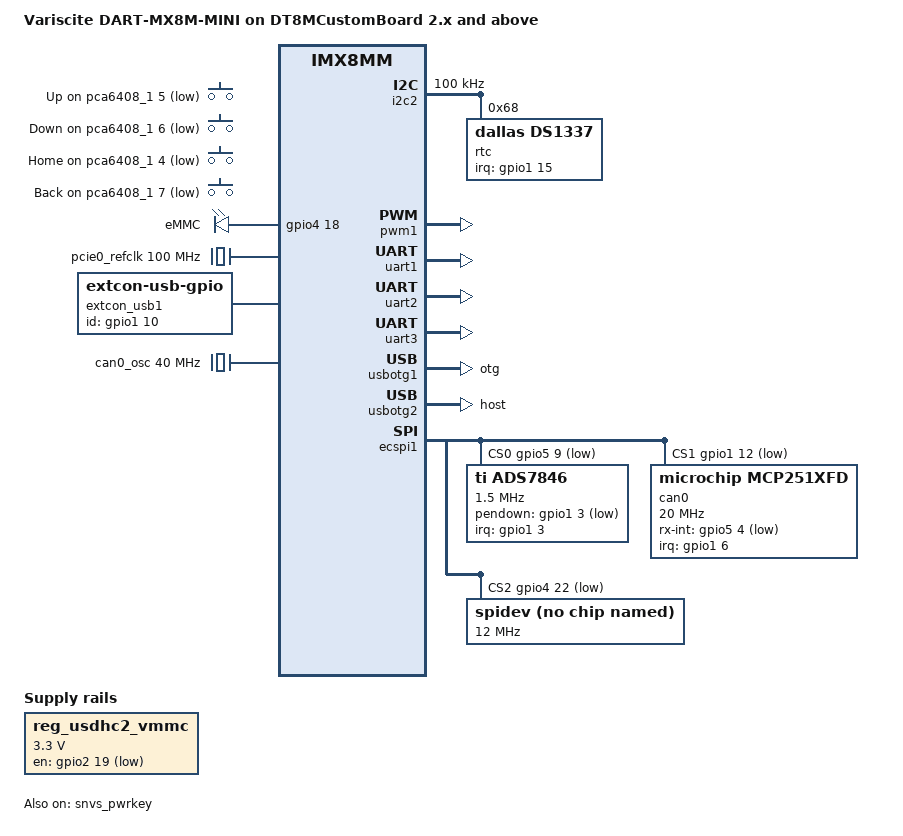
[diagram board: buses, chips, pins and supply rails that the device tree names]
// SPDX-License-Identifier: (GPL-2.0+ OR MIT)
/*
 * Copyright 2019 NXP
 * Copyright 2019-2021 Variscite Ltd.
 */

#include "imx8mm-var-dart.dtsi"

/ {
	model = "Variscite DART-MX8M-MINI on DT8MCustomBoard 2.x and above";

	chosen {
		stdout-path = &uart1;
	};

	gpio-keys {
		compatible = "gpio-keys";
		status = "okay";

		up {
			label = "Up";
			gpios = <&pca6408_1 5 GPIO_ACTIVE_LOW>;
			linux,code = <KEY_UP>;
			wakeup-source;
		};

		down {
			label = "Down";
			gpios = <&pca6408_1 6 GPIO_ACTIVE_LOW>;
			linux,code = <KEY_DOWN>;
			wakeup-source;
		};

		home {
			label = "Home";
			gpios = <&pca6408_1 4 GPIO_ACTIVE_LOW>;
			linux,code = <KEY_HOME>;
			wakeup-source;
		};

		back {
			label = "Back";
			gpios = <&pca6408_1 7 GPIO_ACTIVE_LOW>;
			linux,code = <KEY_BACK>;
			wakeup-source;
		};
	};

	gpio-leds {
		compatible = "gpio-leds";
		pinctrl-names = "default";
		pinctrl-0 = <&pinctrl_leds>;
		status = "okay";

		emmc {
			label = "eMMC";
			gpios = <&gpio4 18 GPIO_ACTIVE_HIGH>;
			linux,default-trigger = "mmc2";
		};
	};

	pcie0_refclk: pcie0-refclk {
		compatible = "fixed-clock";
		#clock-cells = <0>;
		clock-frequency = <100000000>;
	};

	reg_usdhc2_vmmc: regulator-usdhc2 {
		compatible = "regulator-fixed";
		pinctrl-names = "default";
		pinctrl-0 = <&pinctrl_reg_usdhc2_vmmc>;
		regulator-name = "VSD_3V3";
		regulator-min-microvolt = <3300000>;
		regulator-max-microvolt = <3300000>;
		gpio = <&gpio2 19 GPIO_ACTIVE_HIGH>;
		off-on-delay = <20000>;
		enable-active-low;
	};

	extcon_usb1: extcon_usb1 {
		compatible = "linux,extcon-usb-gpio";
		pinctrl-names = "default";
		pinctrl-0 = <&pinctrl_extcon>;
		id-gpio = <&gpio1 10 GPIO_ACTIVE_HIGH>;
		status = "okay";
	};

	can0_osc: can0_osc {
		compatible = "fixed-clock";
		#clock-cells = <0>;
		clock-frequency = <40000000>;
	};
};

&i2c2 {
	clock-frequency = <100000>;
	pinctrl-names = "default";
	pinctrl-0 = <&pinctrl_i2c2>;
	
	/* DS1337 RTC module */
	rtc@68 {
		compatible = "dallas,ds1337";
		reg = <0x68>;
		pinctrl-names = "default";
		pinctrl-0 = <&pinctrl_rtc>;
		interrupt-parent = <&gpio1>;
		interrupts = <15 IRQ_TYPE_EDGE_FALLING>;
		wakeup-source;
		status = "okay";
	};
};

&i2c4 {
	clock-frequency = <100000>;
	pinctrl-names = "default";
	pinctrl-0 = <&pinctrl_i2c4>;
	status = "disabled";
};

&pwm1 {
	pinctrl-names = "default";
	pinctrl-0 = <&pinctrl_pwm1>;
	status = "okay";
};

/* Console */
&uart1 {
	pinctrl-names = "default";
	pinctrl-0 = <&pinctrl_uart1>;
	status = "okay";
};

/* Header */
&uart2 {
	pinctrl-names = "default";
	pinctrl-0 = <&pinctrl_uart2>;
	status = "okay";
};

/* Header */
&uart3 {
	pinctrl-names = "default";
	pinctrl-0 = <&pinctrl_uart3>;
	status = "okay";
};

&usbotg1 {
	dr_mode = "otg";
	picophy,pre-emp-curr-control = <3>;
	picophy,dc-vol-level-adjust = <7>;
	extcon = <0>,<&extcon_usb1>;
	hnp-disable;
	srp-disable;
	adp-disable;
	disable-over-current;
	status = "okay";
};

&usbotg2 {
	dr_mode = "host";
	picophy,pre-emp-curr-control = <3>;
	picophy,dc-vol-level-adjust = <7>;
	disable-over-current;
	status = "okay";
};

&ecspi1 {
	pinctrl-names = "default";
	pinctrl-0 = <&pinctrl_ecspi1>;
	cs-gpios = <&gpio5  9 GPIO_ACTIVE_LOW>,
		   <&gpio1 12 GPIO_ACTIVE_LOW>,
		   <&gpio4 22 GPIO_ACTIVE_LOW>;
	status = "okay";

	/* Resistive touch controller */
	ads7846@0 {
		reg = <0>;
		compatible = "ti,ads7846";
		pinctrl-names = "default";
		pinctrl-0 = <&pinctrl_restouch>;
		interrupt-parent = <&gpio1>;
		interrupts = <3 IRQ_TYPE_EDGE_FALLING>;
		spi-max-frequency = <1500000>;
		pendown-gpio = <&gpio1 3 GPIO_ACTIVE_LOW>;
		ti,x-min = /bits/ 16 <125>;
		ti,x-max = /bits/ 16 <4008>;
		ti,y-min = /bits/ 16 <282>;
		ti,y-max = /bits/ 16 <3864>;
		ti,x-plate-ohms = /bits/ 16 <180>;
		ti,pressure-max = /bits/ 16 <255>;
		ti,debounce-max = /bits/ 16 <10>;
		ti,debounce-tol = /bits/ 16 <3>;
		ti,debounce-rep = /bits/ 16 <1>;
		ti,settle-delay-usec = /bits/ 16 <150>;
		ti,keep-vref-on;
		wakeup-source;
		status = "okay";
	};

	/* CAN controller */
	can0: can@1 {
		compatible = "microchip,mcp251xfd";
		reg = <1>;
		pinctrl-names = "default";
		pinctrl-0 = <&pinctrl_can>;
		clocks = <&can0_osc>;
		interrupt-parent = <&gpio1>;
		interrupts = <6 IRQ_TYPE_EDGE_FALLING>;
		microchip,rx-int-gpios = <&gpio5 4 GPIO_ACTIVE_LOW>;
		spi-max-frequency = <20000000>;
		status = "okay";
	};

	/* Test SPI device */
	spidev@2 {
		reg = <2>;
		compatible = "var,spidev";
		spi-max-frequency = <12000000>;
		status = "okay";
	};
};

&snvs_pwrkey {
	status = "okay";
};

&snvs_rtc {
	status = "disabled";
};

&iomuxc {
	pinctrl_i2c2: i2c2grp {
		fsl,pins = <
			MX8MM_IOMUXC_I2C2_SCL_I2C2_SCL			0x400001c3
			MX8MM_IOMUXC_I2C2_SDA_I2C2_SDA			0x400001c3
		>;
	};

	pinctrl_i2c4: i2c4grp {
		fsl,pins = <
			MX8MM_IOMUXC_I2C4_SCL_I2C4_SCL			0x400001c3
			MX8MM_IOMUXC_I2C4_SDA_I2C4_SDA			0x400001c3
		>;
	};

	pinctrl_uart1: uart1grp {
		fsl,pins = <
			MX8MM_IOMUXC_UART1_RXD_UART1_DCE_RX		0x140
			MX8MM_IOMUXC_UART1_TXD_UART1_DCE_TX		0x140
		>;
	};

	pinctrl_uart2: uart2grp {
		fsl,pins = <
			MX8MM_IOMUXC_UART2_RXD_UART2_DCE_RX		0x140
			MX8MM_IOMUXC_UART2_TXD_UART2_DCE_TX		0x140
		>;
	};

	pinctrl_uart3: uart3grp {
		fsl,pins = <
			MX8MM_IOMUXC_UART3_RXD_UART3_DCE_RX		0x140
			MX8MM_IOMUXC_UART3_TXD_UART3_DCE_TX		0x140
		>;
	};

	pinctrl_reg_usdhc2_vmmc: regusdhc2vmmc {
		fsl,pins = <
			MX8MM_IOMUXC_SD2_RESET_B_GPIO2_IO19		0xc1
		>;
	};

	pinctrl_pwm1: pwm1grp {
		fsl,pins = <
			MX8MM_IOMUXC_GPIO1_IO01_PWM1_OUT		0x06
		>;
	};

	pinctrl_captouch: captouchgrp {
		fsl,pins = <
			MX8MM_IOMUXC_GPIO1_IO14_GPIO1_IO14		0x16
		>;
	};

	pinctrl_extcon: extcongrp {
		fsl,pins = <
			MX8MM_IOMUXC_GPIO1_IO10_GPIO1_IO10		0x19
		>;
	};

	pinctrl_ecspi1: ecspi1grp {
		fsl,pins = <
			MX8MM_IOMUXC_ECSPI1_SCLK_ECSPI1_SCLK		0x13
			MX8MM_IOMUXC_ECSPI1_MOSI_ECSPI1_MOSI		0x13
			MX8MM_IOMUXC_ECSPI1_MISO_ECSPI1_MISO		0x13
			MX8MM_IOMUXC_ECSPI1_SS0_GPIO5_IO9		0x13
			MX8MM_IOMUXC_GPIO1_IO12_GPIO1_IO12		0x13
			MX8MM_IOMUXC_SAI2_RXC_GPIO4_IO22		0x13
		>;
	};

	pinctrl_restouch: restouchgrp {
		fsl,pins = <
			MX8MM_IOMUXC_GPIO1_IO03_GPIO1_IO3		0x1c0
		>;
	};

	pinctrl_can: cangrp {
		fsl,pins = <
			MX8MM_IOMUXC_GPIO1_IO06_GPIO1_IO6		0x16
			MX8MM_IOMUXC_SPDIF_RX_GPIO5_IO4			0x16
		>;
	};

	pinctrl_leds: ledgrp {
		fsl,pins = <
			MX8MM_IOMUXC_SAI1_TXD6_GPIO4_IO18		0x1c6
		>;
	};

	pinctrl_pca6408: pca6408grp {
		fsl,pins = <
			MX8MM_IOMUXC_GPIO1_IO05_GPIO1_IO5		0x1c6
		>;
	};

	pinctrl_rtc: rtcgrp {
		fsl,pins = <
			MX8MM_IOMUXC_GPIO1_IO15_GPIO1_IO15		0x1c1
		>;
	};
};
